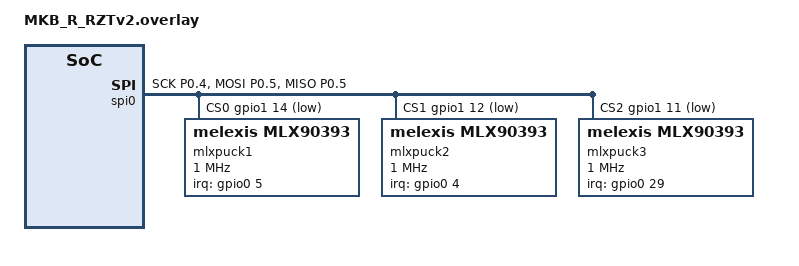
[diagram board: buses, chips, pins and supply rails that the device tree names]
#include <dt-bindings/zmk/keys.h>
#include <dt-bindings/zmk/pointing.h>

&spi0 {
    compatible = "nordic,nrf-spim";
    status = "okay";
    pinctrl-0 = <&spi0_default>;
    pinctrl-1 = <&spi0_sleep>;
    pinctrl-names = "default", "sleep";
    cs-gpios = <&gpio1 14 (GPIO_ACTIVE_LOW | GPIO_PULL_UP)>
            , <&gpio1 12 (GPIO_ACTIVE_LOW | GPIO_PULL_UP)>
            , <&gpio1 11 (GPIO_ACTIVE_LOW | GPIO_PULL_UP)>;
    mlxpuck1: mlx90393@0 {
        compatible = "melexis,mlx90393";
        status = "okay";
        spi-max-frequency = <1000000>;
        reg = <0>;
        irq-gpios = <&gpio0 5 (GPIO_ACTIVE_HIGH | GPIO_PULL_DOWN)>;
        woc-thd-trim-pctg = <65>;
        smooth-len = <5>;
        downshift = <50>;
        rpt-dzn-x = <150>;
        rpt-dzn-y = <150>;
        rpt-dzn-z = <150>;
    };
    mlxpuck2: mlx90393@1 {
        compatible = "melexis,mlx90393";
        status = "okay";
        spi-max-frequency = <1000000>;
        reg = <1>;
        irq-gpios = <&gpio0 4 (GPIO_ACTIVE_HIGH | GPIO_PULL_DOWN)>;
        woc-thd-trim-pctg = <65>;
        smooth-len = <5>;
        downshift = <50>;
        rpt-dzn-x = <150>;
        rpt-dzn-y = <150>;
        rpt-dzn-z = <150>;
    };
    mlxpuck3: mlx90393@2 {
        compatible = "melexis,mlx90393";
        status = "okay";
        spi-max-frequency = <1000000>;
        reg = <2>;
        irq-gpios = <&gpio0 29 (GPIO_ACTIVE_HIGH | GPIO_PULL_DOWN)>;
        woc-thd-trim-pctg = <65>;
        smooth-len = <5>;
        downshift = <50>;
        rpt-dzn-x = <150>;
        rpt-dzn-y = <150>;
        rpt-dzn-z = <150>;
    };
};

&pinctrl {
    spi0_default: spi0_default {
        group1 {
            psels = <NRF_PSEL(SPIM_SCK, 0, 4)>,
                    <NRF_PSEL(SPIM_MOSI, 0, 5)>,
                    <NRF_PSEL(SPIM_MISO, 0, 5)>;
        };
    };
    spi0_sleep: spi0_sleep {
        group1 {
            psels = <NRF_PSEL(SPIM_SCK, 0, 4)>,
                    <NRF_PSEL(SPIM_MOSI, 0, 5)>,
                    <NRF_PSEL(SPIM_MISO, 0, 5)>;
            low-power-enable;
        };
    };
};
